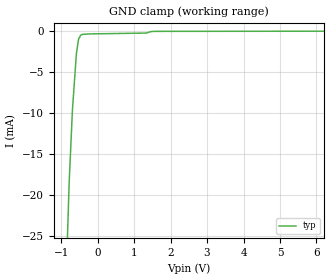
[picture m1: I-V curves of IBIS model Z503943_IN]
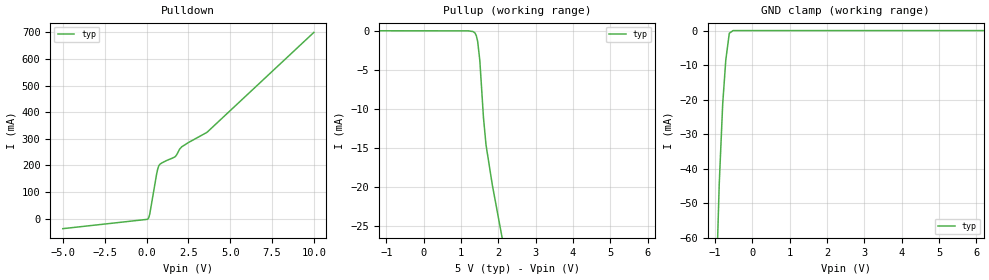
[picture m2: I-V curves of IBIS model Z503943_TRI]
| YOU ARE ONLY AUTHORIZED TO USE THIS SOFTWARE
| ACCORDING TO LICENSOR'S LICENSE RESTRICTIONS.
[IBIS Ver] 3.1
[File Name] mc54f823j.ibs
[File Rev] 2.0
[Source] Measured and created by ICX Technology
[Date] Friday 7/14/00 9:08:03 AM
[Copyright]
| (C) COPYRIGHT 1993-2000
| MENTOR GRAPHICS CORPORATION
| ICX STANDARD LIBRARY, ICX PROJECT MODELING,
| ICX CUSTOM MODELING, ICX VENDOR MODEL
| ALL RIGHTS RESERVED.
| THE FOLLOWING ARE TRADEMARKS OR SERVICE MARKS OF
| MENTOR GRAPHICS CORPORATION:ICX (R), ICX STANDARD
| LIBRARY(R), ICX PROJECT MODELING(R), ICX CUSTOM
| MODELING(R), qualityIBIS(TM), MODELVIEWER(TM),
| AND MODELEDITOR(TM)
| ALL COPIES OF SOFTWARE, INCLUDING BUT NOT LIMITED TO
| ANY MODIFICATIONS, ENHANCEMENTS OR DERIVATIVE WORKS,
| MUST CONTAIN ALL MENTOR GRAPHICS CORPORATION'S
| NOTICES AND LEGENDS, INCLUDING THOSE EMBEDDED IN
| SOFTWARE AND THOSE AFFIXED TO SOFTWARE MEDIUM
| AND CONTAINER, AS RECEIVED FROM MENTOR GRAPHICS
| CORPORATION.
|  ZAP Model Builder 2.7
[Component] MC54F823J
[Manufacturer] OnSemiconductor
[Package]
| variable   typ   min   max
R_pkg  .22ohms NA NA
L_pkg  6.927nH NA NA
C_pkg  2.443pF NA NA
[Pin] signal_name  model_name  R_pin  L_pin C_pin
1 _EN Z503943_IN .24 12.76n 3.675p
2 D0 Z503943_IN .232 9.76n 3.182p
3 D1 Z503943_IN .224 7.26n 2.689p
4 D2 Z503943_IN .216 5.26n 2.196p
5 D3 Z503943_IN .208 3.76n 1.703p
6 D4 Z503943_IN .2 2.76n 1.21p
7 D5 Z503943_IN .2 2.76n 1.21p
8 D6 Z503943_IN .208 3.76n 1.703p
9 D7 Z503943_IN .216 5.26n 2.196p
10 D8 Z503943_IN .224 7.26n 2.689p
11 _CLR Z503943_IN .232 9.76n 3.182p
12 GND GND .24 12.76n 3.675p
13 CLK Z503943_IN .24 12.76n 3.675p
14 _CLKEN Z503943_IN .232 9.76n 3.182p
15 Q8 Z503943_TRI .224 7.26n 2.689p
16 Q7 Z503943_TRI .216 5.26n 2.196p
17 Q6 Z503943_TRI .208 3.76n 1.703p
18 Q5 Z503943_TRI .2 2.76n 1.21p
19 Q4 Z503943_TRI .2 2.76n 1.21p
20 Q3 Z503943_TRI .208 3.76n 1.703p
21 Q2 Z503943_TRI .216 5.26n 2.196p
22 Q1 Z503943_TRI .224 7.26n 2.689p
23 Q0 Z503943_TRI .232 9.76n 3.182p
24 VCC POWER .24 12.76n 3.675p
| Models and submodels in the file (2): Z503943_IN (Input), Z503943_TRI (3-state)
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| (C) COPYRIGHT 1993-2000
| MENTOR GRAPHICS CORPORATION
| ICX STANDARD LIBRARY, ICX PROJECT MODELING,
| ICX CUSTOM MODELING, ICX VENDOR MODEL
| ALL RIGHTS RESERVED.
| THE FOLLOWING ARE TRADEMARKS OR SERVICE MARKS OF
| MENTOR GRAPHICS CORPORATION:ICX (R), ICX STANDARD
| LIBRARY(R), ICX PROJECT MODELING(R), ICX CUSTOM
| MODELING(R), qualityIBIS(TM), MODELVIEWER(TM),
| AND MODELEDITOR(TM)
| ALL COPIES OF SOFTWARE, INCLUDING BUT NOT LIMITED TO
| ANY MODIFICATIONS, ENHANCEMENTS OR DERIVATIVE WORKS,
| MUST CONTAIN ALL MENTOR GRAPHICS CORPORATION'S
| NOTICES AND LEGENDS, INCLUDING THOSE EMBEDDED IN
| SOFTWARE AND THOSE AFFIXED TO SOFTWARE MEDIUM
| AND CONTAINER, AS RECEIVED FROM MENTOR GRAPHICS
| CORPORATION.
| Model Application Version 1.89 2/18/99.
[Model] Z503943_IN
Model_type Input
Vinl = 800.0mV
Vinh = 2.000V
C_comp 4.000pF NA NA
| variable typ   min   max
[Voltage Range] 5.000V NA NA
[GND Clamp Reference] 0.000V NA NA
[POWER Clamp Reference] 5.000V NA NA
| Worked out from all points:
|   GND clamp passes 1 mA (typ) near -0.52 V on its own axis
[GND Clamp]
-5V       -627.6mA   NA         NA
-781.1mV  -18.63mA   NA         NA
-690.8mV  -9.658mA   NA         NA
-581.1mV  -2.702mA   NA         NA
-521.9mV  -963uA     NA         NA
-462.5mV  -464.2uA   NA         NA
-405.2mV  -368.7uA   NA         NA
-202.6mV  -320.8uA   NA         NA
1.328V    -216.8uA   NA         NA
1.465V    -36.69uA   NA         NA
1.563V    -9.496uA   NA         NA
10V       24.15uA    NA         NA
[POWER Clamp]
-5V       0A         NA         NA
10V       0A         NA         NA
| (C) COPYRIGHT 1993-2000
| MENTOR GRAPHICS CORPORATION
| ICX STANDARD LIBRARY, ICX PROJECT MODELING,
| ICX CUSTOM MODELING, ICX VENDOR MODEL
| ALL RIGHTS RESERVED.
| THE FOLLOWING ARE TRADEMARKS OR SERVICE MARKS OF
| MENTOR GRAPHICS CORPORATION:ICX (R), ICX STANDARD
| LIBRARY(R), ICX PROJECT MODELING(R), ICX CUSTOM
| MODELING(R), qualityIBIS(TM), MODELVIEWER(TM),
| AND MODELEDITOR(TM)
| ALL COPIES OF SOFTWARE, INCLUDING BUT NOT LIMITED TO
| ANY MODIFICATIONS, ENHANCEMENTS OR DERIVATIVE WORKS,
| MUST CONTAIN ALL MENTOR GRAPHICS CORPORATION'S
| NOTICES AND LEGENDS, INCLUDING THOSE EMBEDDED IN
| SOFTWARE AND THOSE AFFIXED TO SOFTWARE MEDIUM
| AND CONTAINER, AS RECEIVED FROM MENTOR GRAPHICS
| CORPORATION.
| Model Application Version 1.89 2/18/99.
[Model] Z503943_TRI
Model_type 3-state
Vref=0.000V
Rref=500.0ohms
Cref=50.00pF
Vmeas=1.500V
C_comp 8.000pF NA NA
| variable typ   min   max
[Voltage Range] 5.000V NA NA
[POWER Clamp Reference] 5.000V NA NA
[Pullup Reference] 5.000V NA NA
[Pulldown Reference] 0.000V NA NA
[GND Clamp Reference] 0.000V NA NA
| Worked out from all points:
|   slope of the pulldown table from 0 to 0.75 V, typ, clamps not added: 3.7 ohm
|   GND clamp passes 1 mA (typ) near -0.62 V on its own axis
[GND Clamp]
-5V       -2.456A    NA         NA
-1.133V   -148.2mA   NA         NA
-1.016V   -91.3mA    NA         NA
-888.8mV  -44.49mA   NA         NA
-795.7mV  -21.25mA   NA         NA
-712.8mV  -8.535mA   NA         NA
-618.5mV  -759.7uA   NA         NA
-515.4mV  0A         NA         NA
10V       0A         NA         NA
[Pulldown]
-5V       -38.06mA   NA         NA
72.21mV   -2.215mA   NA         NA
129.3mV   2.631mA    NA         NA
193.4mV   16.32mA    NA         NA
605.7mV   167.8mA    NA         NA
664.9mV   184.8mA    NA         NA
730.1mV   197.6mA    NA         NA
805.7mV   204.4mA    NA         NA
1.712V    232.3mA    NA         NA
2.109V    269.8mA    NA         NA
3.612V    323.9mA    NA         NA
10V       699.7mA    NA         NA
[Pullup]
-5V       35.5uA     NA         NA
1.201V    -2.518uA   NA         NA
1.319V    -89.29uA   NA         NA
1.377V    -284.2uA   NA         NA
1.411V    -651.3uA   NA         NA
1.445V    -1.336mA   NA         NA
1.503V    -3.775mA   NA         NA
1.602V    -11.19mA   NA         NA
1.67V     -14.63mA   NA         NA
1.836V    -19.69mA   NA         NA
10V       -230.4mA   NA         NA
[POWER Clamp]
-5V       0A         NA         NA
10V       0A         NA         NA
[Ramp]
| variable typ min max
dV/dt_r 2.015/3.641n NA NA
dV/dt_f 2.015/1.000n NA NA
R_load = 500.0Ohms
